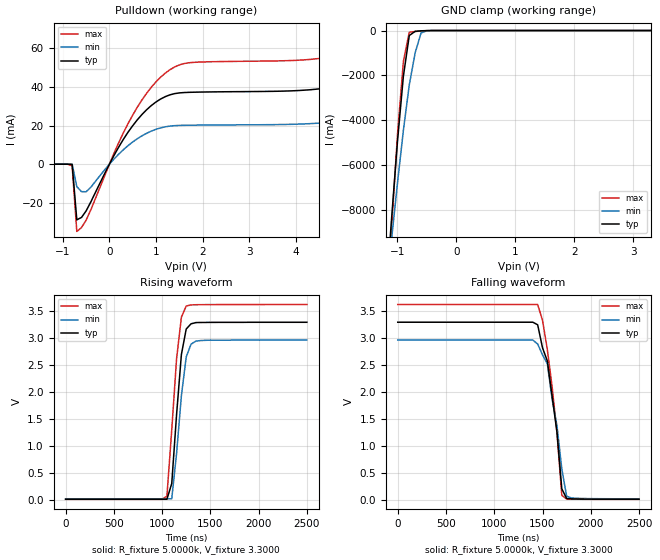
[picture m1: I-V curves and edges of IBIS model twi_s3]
| [Disclaimer]
| Copyright (C)2008 Analog Devices, All Rights Reserved
| [Copyright] This model is exclusive property of Analog Devices Inc
| From bf51x_2_5_24x24_lqfp.ibs, BF512/BF514/BF516/BF518, ANALOG DEVICES
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|   Model ptwi400kv123
[Model]   twi_s3
Model_type   I/O_open_drain
Polarity   Non-Inverting
Enable   Active-Low
Vinl =   0.9900V
Vinh =   2.3100V
Vmeas =   1.6500V
Cref =  50.0000pF
Rref =   5.0000k
Vref =   3.3000V
C_comp   7.1300pF   6.4200pF   7.8500pF
[Temperature Range]   25.0000   0.1250k   0.000
[Voltage Range]   3.3000V   2.9700V   3.6300V
[Pullup Reference]   3.3000V   2.9700V   3.6300V
[Pulldown Reference]   0.000V   0.000V   0.000V
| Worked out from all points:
|   slope of the pulldown table from 0 to 0.495 V, typ, clamps not added: 25.1 ohm
|   GND clamp passes 1 mA (typ) near -0.42 V on its own axis
|   rising waveform, R_fixture 5.0000k, V_fixture 3.3000: 20-80 % time 83.1ns typ, 95.8ns min, 91.4ns max; typ from 0.014 V to 3.3 V
|   falling waveform, R_fixture 5.0000k, V_fixture 3.3000: 20-80 % time 140ns typ, 137ns min, 132ns max; typ from 3.3 V to 0.014 V
[Pulldown]
| voltage   I(typ)   I(min)   I(max)
-3.3V     0A         0A         0A
-800mV    -100uA     0A         -820uA
-700mV    -28.8mA    -11.6mA    -34.81mA
-500mV    -24.19mA   -14.27mA   -28.94mA
500mV     19.92mA    11.5mA     25.41mA
900mV     30.36mA    17.14mA    39.84mA
1.3V      35.91mA    19.74mA    48.91mA
1.7V      37.2mA     20.18mA    52.49mA
4.2V      38.35mA    20.88mA    54.05mA
5.3V      42.63mA    23.41mA    58.96mA
6.1V      50.22mA    27.74mA    68.41mA
6.6V      1.891A     37.57mA    4.174A
[GND_clamp]
| voltage   I(typ)   I(min)   I(max)
-3.3V     -92.66A    -68.53A    -112A
-1.2V     -12A       -11.86A    -13.19A
-1.1V     -8.386A    -9.303A    -8.788A
-1V       -4.95A     -6.809A    -4.649A
-900mV    -2.039A    -4.453A    -1.383A
-800mV    -224mA     -2.427A    -75.56mA
-700mV    -35.99mA   -991.4mA   -42.74mA
-600mV    -13.99mA   -107.7mA   -20.85mA
-500mV    -3.49mA    -11.55mA   -6.233mA
3.3V      9.941nA    34.11nA    23.84nA
[Ramp]
| variable   typ   min   max
dV/dt_r   1.9711/81.0690n   1.7687/85.4072n   2.1700/81.1274n
dV/dt_f   1.9716/0.1326u   1.7684/0.1328u   2.1700/0.1366u
R_load = 5.0000k
[Rising Waveform]
R_fixture = 5.0000k
V_fixture = 3.3000
V_fixture_min = 2.9700
V_fixture_max = 3.6300
L_fixture = 0.000H
C_fixture = 0.000F
| time   V(typ)   V(min)   V(max)
0s        13.91mV    21.24mV    12.32mV
1us       13.91mV    21.24mV    12.32mV
1.05us    13.91mV    21.24mV    71.91mV
1.1us     304.5mV    21.24mV    1.3V
1.15us    1.583V     862.6mV    2.62V
1.2us     2.7V       1.935V     3.393V
1.25us    3.174V     2.656V     3.602V
1.3us     3.271V     2.892V     3.621V
1.35us    3.293V     2.95V      3.624V
2.5us     3.299V     2.969V     3.629V
[Falling Waveform]
R_fixture = 5.0000k
V_fixture = 3.3000
V_fixture_min = 2.9700
V_fixture_max = 3.6300
L_fixture = 0.000H
C_fixture = 0.000F
| time   V(typ)   V(min)   V(max)
0s        3.3V       2.969V     3.629V
1.4us     3.3V       2.969V     3.629V
1.45us    3.252V     2.896V     3.629V
1.5us     2.826V     2.694V     3.336V
1.55us    2.582V     2.53V      2.795V
1.6us     1.921V     1.863V     2.097V
1.65us    1.258V     1.379V     1.248V
1.7us     207.6mV    577.3mV    85.43mV
1.75us    27.32mV    70.29mV    19.62mV
2.5us     14.06mV    21.75mV    12.35mV
